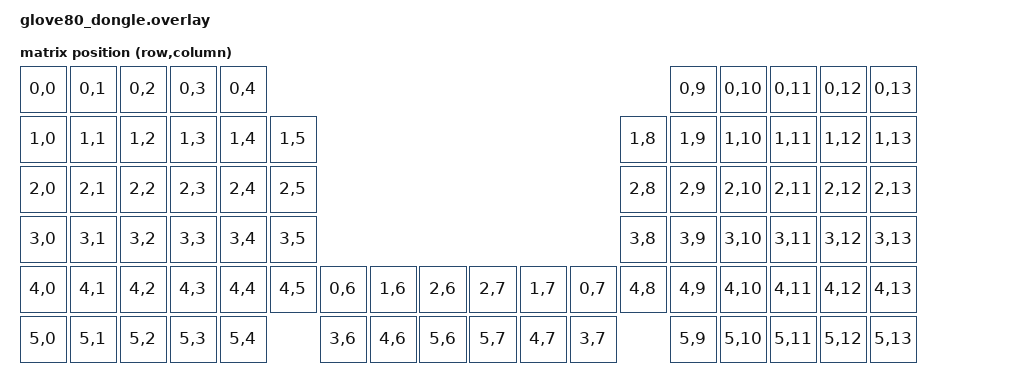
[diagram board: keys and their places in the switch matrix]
/*
 * Copyright (c) 2024 The ZMK Contributors
 *
 * SPDX-License-Identifier: MIT
 */

#include <dt-bindings/zmk/matrix_transform.h>
#include <dt-bindings/led/led.h>
#include "../../arm/glove80/glove80-layouts.dtsi"

/ {
    chosen {
        zmk,kscan = &mock_kscan;
        zmk,physical-layout = &physical_layout0;
        /*
         * The dongle has no LED strip of its own, but &rgb_ug is a
         * BEHAVIOR_LOCALITY_GLOBAL behavior - the central must be able to
         * resolve the behavior device locally (see src/behavior.c) before
         * it will relay RGB commands on to LH/RH at all. This placeholder
         * satisfies that requirement; see the single-pixel led_strip below.
         */
        zmk,underglow = &led_strip;
        /*
         * The generic XIAO BLE board overlay sets zmk,battery to &vbatt,
         * assuming a LiPo is attached. A bare dongle typically has none, so
         * that ADC reading would be meaningless noise. Drop the chosen
         * property entirely (rather than just disabling &vbatt below) so
         * src/battery.c takes its "no battery chosen" code path instead of
         * trying to reference the now-disabled device - referencing a
         * disabled node via DEVICE_DT_GET(DT_CHOSEN(...)) is a compile
         * error, not a graceful runtime no-op.
         */
        /delete-property/ zmk,battery;
    };

    mock_kscan: mock_kscan_0 {
        compatible = "zmk,kscan-mock";
        columns = <0>;
        rows = <0>;
        events = <0>;
    };

    /*
     * Placeholder ext_power device. src/rgb_underglow.c reads this
     * unconditionally (not gated by CONFIG_ZMK_RGB_UNDERGLOW_EXT_POWER) in
     * its critical-battery auto-off path, so simply disabling that Kconfig
     * option isn't enough - the zmk,ext-power-generic instance needs to
     * actually exist. Found via DT_INST(0, zmk_ext_power_generic), which
     * doesn't need a chosen property, just one enabled node anywhere in the
     * tree. control-gpios points at an unused XIAO pin - the dongle has no
     * keys/buttons claiming any pins, and this is never expected to be
     * physically connected to anything.
     */
    EXT_POWER: ext_power {
        compatible = "zmk,ext-power-generic";
        control-gpios = <&xiao_d 0 GPIO_ACTIVE_HIGH>;
    };

    /*
     * Copied from boards/arm/glove80/glove80.dtsi. The dongle has no keys of
     * its own, but needs the same matrix transform as the real halves so
     * that key position events reported by the LH/RH peripherals map to the
     * correct behaviors. Keep this in sync if the Glove80 matrix ever
     * changes.
     */
    matrix_transform0: keymap_transform_0 {
        compatible = "zmk,matrix-transform";
        columns = <14>;
        rows = <6>;
        map = <
            RC(0,0) RC(0,1) RC(0,2) RC(0,3) RC(0,4)                                                                    RC(0,9) RC(0,10) RC(0,11) RC(0,12) RC(0,13)
            RC(1,0) RC(1,1) RC(1,2) RC(1,3) RC(1,4) RC(1,5)                                                    RC(1,8) RC(1,9) RC(1,10) RC(1,11) RC(1,12) RC(1,13)
            RC(2,0) RC(2,1) RC(2,2) RC(2,3) RC(2,4) RC(2,5)                                                    RC(2,8) RC(2,9) RC(2,10) RC(2,11) RC(2,12) RC(2,13)
            RC(3,0) RC(3,1) RC(3,2) RC(3,3) RC(3,4) RC(3,5)                                                    RC(3,8) RC(3,9) RC(3,10) RC(3,11) RC(3,12) RC(3,13)
            RC(4,0) RC(4,1) RC(4,2) RC(4,3) RC(4,4) RC(4,5) RC(0,6) RC(1,6) RC(2,6)   RC(2,7) RC(1,7)  RC(0,7) RC(4,8) RC(4,9) RC(4,10) RC(4,11) RC(4,12) RC(4,13)
            RC(5,0) RC(5,1) RC(5,2) RC(5,3) RC(5,4)         RC(3,6) RC(4,6) RC(5,6)   RC(5,7) RC(4,7)  RC(3,7)         RC(5,9) RC(5,10) RC(5,11) RC(5,12) RC(5,13)
        >;
    };
};

&physical_layout0 {
    transform = <&matrix_transform0>;
};

/*
 * Single-pixel placeholder WS2812 strip. Not expected to be physically
 * connected to anything - this exists purely so the &rgb_ug behavior device
 * exists locally on the dongle (see the zmk,underglow chosen comment above).
 * &xiao_spi is the Seeed XIAO interconnect's portable SPI bus label.
 */
&xiao_spi {
    status = "okay";

    led_strip: ws2812@0 {
        compatible = "worldsemi,ws2812-spi";
        reg = <0>;
        spi-max-frequency = <4000000>;

        chain-length = <1>;
        spi-one-frame = <0x70>;
        spi-zero-frame = <0x40>;

        color-mapping = <LED_COLOR_ID_GREEN LED_COLOR_ID_RED LED_COLOR_ID_BLUE>;
    };
};

/*
 * Now that nothing references &vbatt via the zmk,battery chosen property
 * (deleted above), it's safe to disable the underlying voltage-divider
 * device too, so its ADC/GPIO driver isn't even compiled in or initialized.
 */
&vbatt {
    status = "disabled";
};
